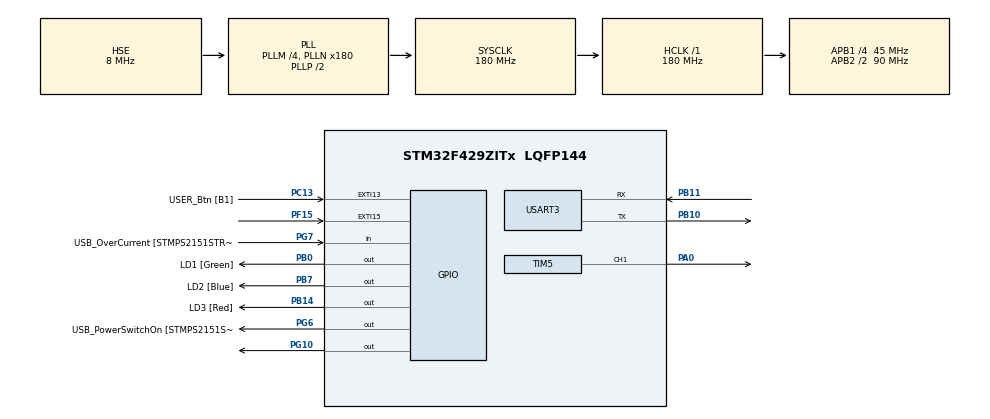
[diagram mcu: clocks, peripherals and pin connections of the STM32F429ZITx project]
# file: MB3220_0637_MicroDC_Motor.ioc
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Mcu.Family=STM32F4
Mcu.Name=STM32F429ZITx
Mcu.Package=LQFP144
NVIC.EXTI15_10_IRQn=true\:0\:0\:false\:false\:true\:true\:true\:true
NVIC.PriorityGroup=NVIC_PRIORITYGROUP_4
NVIC.TIM5_IRQn=true\:0\:0\:false\:false\:true\:true\:true\:true
NVIC.USART3_IRQn=true\:0\:0\:false\:false\:true\:true\:true\:true
PA0/WKUP.Signal=S_TIM5_CH1
PA1.GPIO_Label=RMII_REF_CLK [LAN8742A-CZ-TR_REFCLK0]
PA1.Signal=ETH_REF_CLK
PA10.GPIO_Label=USB_ID
PA10.Signal=USB_OTG_FS_ID
PA11.GPIO_Label=USB_DM
PA11.Signal=USB_OTG_FS_DM
PA12.GPIO_Label=USB_DP
PA12.Signal=USB_OTG_FS_DP
PA13.GPIO_Label=TMS
PA13.Mode=Serial_Wire
PA13.Signal=SYS_JTMS-SWDIO
PA14.GPIO_Label=TCK
PA14.Mode=Serial_Wire
PA14.Signal=SYS_JTCK-SWCLK
PA2.GPIO_Label=RMII_MDIO [LAN8742A-CZ-TR_MDIO]
PA2.Signal=ETH_MDIO
PA7.GPIO_Label=RMII_CRS_DV [LAN8742A-CZ-TR_CRS_DV]
PA7.Signal=ETH_CRS_DV
PA8.GPIO_Label=USB_SOF [TP1]
PA8.Signal=USB_OTG_FS_SOF
PA9.GPIO_Label=USB_VBUS
PA9.Signal=USB_OTG_FS_VBUS
PB0.GPIO_Label=LD1 [Green]
PB0.Signal=GPIO_Output
PB10.Mode=Asynchronous
PB10.Signal=USART3_TX
PB11.Mode=Asynchronous
PB11.Signal=USART3_RX
PB13.GPIO_Label=RMII_TXD1 [LAN8742A-CZ-TR_TXD1]
PB13.Signal=ETH_TXD1
PB14.GPIO_Label=LD3 [Red]
PB14.Signal=GPIO_Output
PB7.GPIO_Label=LD2 [Blue]
PB7.Signal=GPIO_Output
PC1.GPIO_Label=RMII_MDC [LAN8742A-CZ-TR_MDC]
PC1.Signal=ETH_MDC
PC13.GPIO_Label=USER_Btn [B1]
PC13.Signal=GPXTI13
PC14/OSC32_IN.Mode=LSE-External-Oscillator
PC14/OSC32_IN.Signal=RCC_OSC32_IN
PC15/OSC32_OUT.Mode=LSE-External-Oscillator
PC15/OSC32_OUT.Signal=RCC_OSC32_OUT
PC4.GPIO_Label=RMII_RXD0 [LAN8742A-CZ-TR_RXD0]
PC4.Signal=ETH_RXD0
PC5.GPIO_Label=RMII_RXD1 [LAN8742A-CZ-TR_RXD1]
PC5.Signal=ETH_RXD1
PF15.Signal=GPXTI15
PG10.Signal=GPIO_Output
PG11.GPIO_Label=RMII_TX_EN [LAN8742A-CZ-TR_TXEN]
PG11.Signal=ETH_TX_EN
PG13.GPIO_Label=RMII_TXD0 [LAN8742A-CZ-TR_TXD0]
PG13.Signal=ETH_TXD0
PG6.GPIO_Label=USB_PowerSwitchOn [STMPS2151STR_EN]
PG6.Signal=GPIO_Output
PG7.GPIO_Label=USB_OverCurrent [STMPS2151STR_FAULT]
PG7.Signal=GPIO_Input
PH0/OSC_IN.GPIO_Label=MCO [STM32F103CBT6_PA8]
PH0/OSC_IN.Mode=HSE-External-Clock-Source
PH0/OSC_IN.Signal=RCC_OSC_IN
PH1/OSC_OUT.Mode=HSE-External-Clock-Source
PH1/OSC_OUT.Signal=RCC_OSC_OUT
ProjectManager.HeapSize=0x200
ProjectManager.StackSize=0x400
ProjectManager.TargetToolchain=STM32CubeIDE
RCC.48MHZClocksFreq_Value=90000000
RCC.AHBFreq_Value=180000000
RCC.APB1CLKDivider=RCC_HCLK_DIV4
RCC.APB1Freq_Value=45000000
RCC.APB1TimFreq_Value=90000000
RCC.APB2CLKDivider=RCC_HCLK_DIV2
RCC.APB2Freq_Value=90000000
RCC.APB2TimFreq_Value=180000000
RCC.CortexFreq_Value=180000000
RCC.HCLKFreq_Value=180000000
RCC.HSE_VALUE=8000000
RCC.HSI_VALUE=16000000
RCC.PLLM=4
RCC.PLLMUL=RCC_PLL_MUL9
RCC.PLLN=180
RCC.PLLSourceVirtual=RCC_PLLSOURCE_HSE
RCC.PRESCALERUSB=RCC_USBCLKSOURCE_PLL_DIV1_5
RCC.SYSCLKFreq_VALUE=180000000
RCC.SYSCLKSource=RCC_SYSCLKSOURCE_PLLCLK
RCC.SYSCLKSourceVirtual=RCC_SYSCLKSOURCE_PLLCLK
RCC.USBFreq_Value=48000000
RCC.VCOOutputFreq_Value=360000000
SH.S_TIM5_CH1.0=TIM5_CH1,PWM Generation1 CH1
TIM5.Channel-PWM\ Generation1\ CH1=TIM_CHANNEL_1
TIM5.Period=10000-1
TIM5.Prescaler=90-1
TIM5.Pulse-PWM\ Generation1\ CH1=0
USART3.VirtualMode=VM_ASYNC
VP_TIM5_VS_ClockSourceINT.Mode=Internal
board=NUCLEO-F429ZI

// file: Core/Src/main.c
/* USER CODE BEGIN Header */
/**
  ******************************************************************************
  * @file           : main.c
  * @brief          : Main program body
  ******************************************************************************
  * @attention
  *
  * Copyright (c) 2022 STMicroelectronics.
  * All rights reserved.
  *
  * This software is licensed under terms that can be found in the LICENSE file
  * in the root directory of this software component.
  * If no LICENSE file comes with this software, it is provided AS-IS.
  *
  ******************************************************************************
  */
/* USER CODE END Header */
#include "main.h"
#include "tim.h"
#include "usart.h"
#include "gpio.h"

/* USER CODE BEGIN Includes */
#include "stdio.h"
/* USER CODE END Includes */

/* USER CODE BEGIN PV */
uint8_t dir = 0;
uint16_t interval = 50;
int16_t temp_Interval;
int32_t temp_CCR = 0;
uint32_t turningPoint = 2000;
/* USER CODE END PV */

void SystemClock_Config(void);
/* USER CODE BEGIN PFP */
int _write(int file, char* p, int len)
{
	if(HAL_UART_Transmit(&huart3, (uint8_t *)p, len, 10) == HAL_OK ) return len;
	else return 0;
}
/* USER CODE END PFP */

int main(void)
{

  /* MCU Configuration--------------------------------------------------------*/

  /* Reset of all peripherals, Initializes the Flash interface and the Systick. */
  HAL_Init();

  /* Configure the system clock */
  SystemClock_Config();

  /* Initialize all configured peripherals */
  MX_GPIO_Init();
  MX_TIM5_Init();
  MX_USART3_UART_Init();
  /* USER CODE BEGIN 2 */
  HAL_TIM_PWM_Start(&htim5, TIM_CHANNEL_1);
  //__HAL_TIM_SetCompare(&htim5, TIM_CHANNEL_1, 10000-1);
  /* USER CODE END 2 */

  /* Infinite loop */
  /* USER CODE BEGIN WHILE */

  uint32_t freq = (HAL_RCC_GetPCLK1Freq()*2)/(htim5.Instance->PSC + 1);	// 90/90 = 1MHz
  freq = freq / (TIM5->ARR + 1);	// 1M / 10000 = 100Hz

  //temp_CCR = TIM5->CCR1 + 1;
  printf("====Start====\r\n");
  printf("Compare : %4d | TEMP : %5d | DIR :%d\r\n", (int)TIM5->CCR1, (int)temp_CCR ,dir);
  HAL_Delay(2000);
  printf("====Start====\r\n");
  while (1)
  {

	  if(temp_CCR >= (TIM5->ARR + 1))
	  {
		temp_CCR = TIM5->ARR + 1;	// 10000
		temp_Interval = -interval;
	  }
	  else if(temp_CCR <= turningPoint)
	  {
		temp_CCR = turningPoint;
		temp_Interval = interval;
		dir = !dir;
		HAL_GPIO_WritePin(GPIOG, GPIO_PIN_10, dir);
	  }
	  temp_CCR += temp_Interval;
	  if(temp_CCR == 0)
	  {
		  TIM5->CCR1 = temp_CCR;
	  }
	  else
	  {
		  TIM5->CCR1 = temp_CCR - 1;
	  }

	  printf("Compare : %4d | TEMP : %5d | DIR :%d\r\n", (int)TIM5->CCR1, (int)temp_CCR ,dir);
	  HAL_Delay(10);

    /* USER CODE END WHILE */

  }
}

void SystemClock_Config(void)
{
  RCC_OscInitTypeDef RCC_OscInitStruct = {0};
  RCC_ClkInitTypeDef RCC_ClkInitStruct = {0};

  /** Configure the main internal regulator output voltage
  */
  __HAL_RCC_PWR_CLK_ENABLE();
  __HAL_PWR_VOLTAGESCALING_CONFIG(PWR_REGULATOR_VOLTAGE_SCALE1);

  /** Initializes the RCC Oscillators according to the specified parameters
  * in the RCC_OscInitTypeDef structure.
  */
  RCC_OscInitStruct.OscillatorType = RCC_OSCILLATORTYPE_HSE;
  RCC_OscInitStruct.HSEState = RCC_HSE_BYPASS;
  RCC_OscInitStruct.PLL.PLLState = RCC_PLL_ON;
  RCC_OscInitStruct.PLL.PLLSource = RCC_PLLSOURCE_HSE;
  RCC_OscInitStruct.PLL.PLLM = 4;
  RCC_OscInitStruct.PLL.PLLN = 180;
  RCC_OscInitStruct.PLL.PLLP = RCC_PLLP_DIV2;
  RCC_OscInitStruct.PLL.PLLQ = 4;
  if (HAL_RCC_OscConfig(&RCC_OscInitStruct) != HAL_OK)
  {
    Error_Handler();
  }

  /** Activate the Over-Drive mode
  */
  if (HAL_PWREx_EnableOverDrive() != HAL_OK)
  {
    Error_Handler();
  }

  /** Initializes the CPU, AHB and APB buses clocks
  */
  RCC_ClkInitStruct.ClockType = RCC_CLOCKTYPE_HCLK|RCC_CLOCKTYPE_SYSCLK
                              |RCC_CLOCKTYPE_PCLK1|RCC_CLOCKTYPE_PCLK2;
  RCC_ClkInitStruct.SYSCLKSource = RCC_SYSCLKSOURCE_PLLCLK;
  RCC_ClkInitStruct.AHBCLKDivider = RCC_SYSCLK_DIV1;
  RCC_ClkInitStruct.APB1CLKDivider = RCC_HCLK_DIV4;
  RCC_ClkInitStruct.APB2CLKDivider = RCC_HCLK_DIV2;

  if (HAL_RCC_ClockConfig(&RCC_ClkInitStruct, FLASH_LATENCY_5) != HAL_OK)
  {
    Error_Handler();
  }
}

/* USER CODE BEGIN 4 */
void HAL_GPIO_EXTI_Callback(uint16_t GPIO_Pin)
{

	static uint32_t temp;
	if(GPIO_Pin == GPIO_PIN_15)	// PIN_15 Pressed
	{
		if(HAL_GetTick() - temp > 100){
			printf("%s\r\n", "PIN_15 Pressed");
			//buttonFlag = 1;
			HAL_GPIO_TogglePin(GPIOB, GPIO_PIN_14);		// LED3 Red
			HAL_GPIO_TogglePin(GPIOG, GPIO_PIN_10);		// DC Motor Direction
		}
		//while(HAL_GPIO_ReadPin(GPIOE, GPIO_PIN_3) == GPIO_PIN_RESET);
		while(HAL_GPIO_ReadPin(GPIOF, GPIO_PIN_15) == GPIO_PIN_RESET){
			//printf("%s\r\n", "wait for reset");
		}	// button -> 0
		temp = HAL_GetTick();	// check last time
	}

}

// before Test
void Set_dutyRatio(uint8_t _Ratio)
{
	if((_Ratio >= 1) && (_Ratio <= 100))
	{
		TIM5->CCR1 = (uint32_t)((TIM5->ARR + 1) * 0.01 * _Ratio) - 1;
	}
	else if(_Ratio == 0)
	{
		TIM5->CCR1 = 0;
	}
}

/* USER CODE END 4 */

void Error_Handler(void)
{
  __disable_irq();
  while (1)
  {
  }
}
